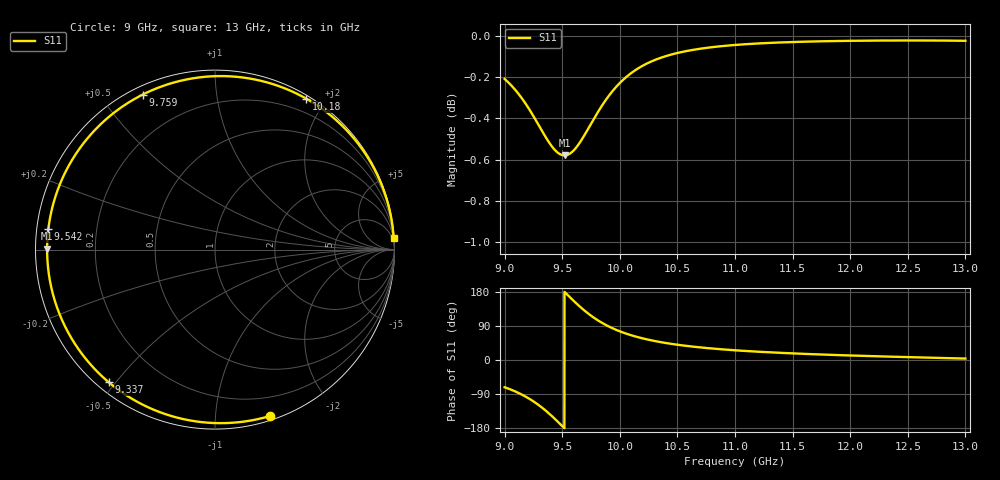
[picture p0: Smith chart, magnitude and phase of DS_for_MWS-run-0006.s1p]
! TOUCHSTONE file generated by CST DESIGN STUDIO
! Date and time: Tue Feb  4 14:13:25 2025
! Project name: C:\Work\MatlabApps\UnitCellOptimizationMatlab\CST\unitcell.cst
! Tree item: Tasks\Sweep1\SPara1\S-Parameters
! Header version: 2024
! Port assignment regex: !\s*Touchstone port\s*([0-9]+)\s*=\s*(CST MWS port|CST DES external port|CST DES block port)\s*(.+)\s* \(\"(.*)\"\)(\s*mode\s*([0-9]+))?.*
! Touchstone port assignment:
! Touchstone port 1 = CST DES external port 1 ("")
# GHz S MA R 50
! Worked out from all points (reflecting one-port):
!   4001 points, 9 GHz to 13 GHz, reference 50 ohm
!   lowest |S11| = -0.6 dB at 9.52 GHz (marker M1), VSWR 29.96, Z = 1.67 + j0.13 ohm
!   phase of S11 starts at -72 deg and turns -284 deg over the sweep
!   S11 on the Smith chart (normalised r, x): 9 GHz: 0.03, -1.38; 9.337 GHz: 0.03, -0.48; 9.542 GHz: 0.03, +0.06; 9.759 GHz: 0.03, +0.64; 10.18 GHz: 0.04, +1.77; 13 GHz: 1, +30
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9  0.9763 -71.9
9.092  0.9704 -82.9
9.197  0.9615 -99.2
9.27  0.9541 -113.3
9.337  0.947 -128.7
9.381  0.9427 -140.0
9.427  0.9389 -152.7
9.464  0.9367 -163.5
9.5  0.9356 -174.3
9.52  0.9354 179.7
9.542  0.9356 173.0
9.596  0.9378 157.0
9.656  0.9424 140.2
9.707  0.9475 127.1
9.759  0.953 115.0
9.809  0.9583 104.8
9.864  0.9636 94.9
10  0.9741 75.7
10.084  0.9788 66.7
10.175  0.9827 58.8
10.323  0.9872 48.9
10.5  0.9906 40.3
10.721  0.9932 32.5
11  0.995 25.6
11.5  0.9967 17.4
12  0.9974 11.9
12.5  0.9976 7.6
13  0.9974 3.8
